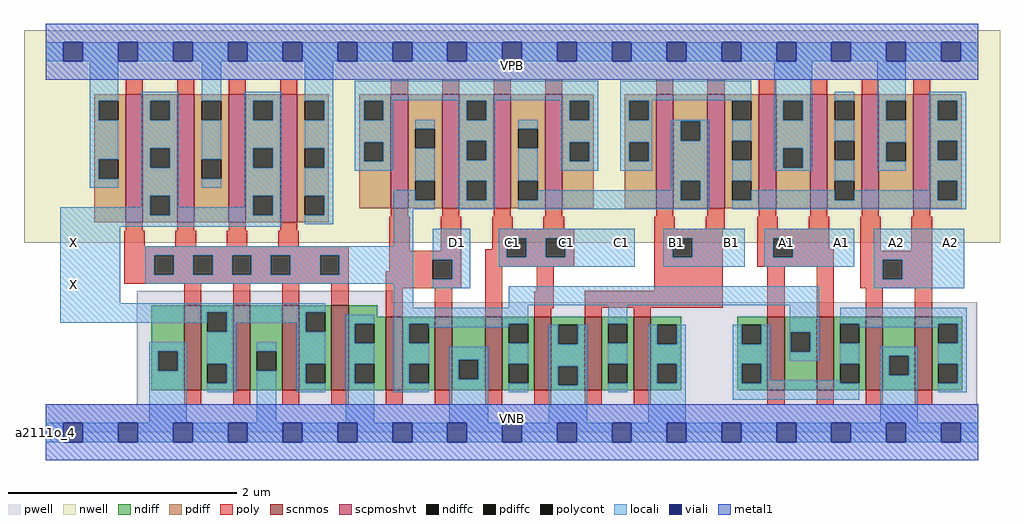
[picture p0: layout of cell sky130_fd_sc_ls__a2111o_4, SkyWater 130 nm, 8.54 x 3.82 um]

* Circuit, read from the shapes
.subckt sky130_fd_sc_ls__a2111o_4 A1 A2 B1 C1 D1 VGND VNB VPB VPWR X
XM1 X n1 VGND VNB sky130_fd_pr__nfet_01v8 w=0.74 l=0.15 m=4
XM2 n1 D1 VGND VNB sky130_fd_pr__nfet_01v8 w=0.64 l=0.15 m=2
XM3 n1 C1 VGND VNB sky130_fd_pr__nfet_01v8 w=0.64 l=0.15 m=2
XM4 n1 B1 VGND VNB sky130_fd_pr__nfet_01v8 w=0.64 l=0.15 m=2
XM5 n1 A1 n2 VNB sky130_fd_pr__nfet_01v8 w=0.64 l=0.15 m=2
XM6 VGND A2 n2 VNB sky130_fd_pr__nfet_01v8 w=0.64 l=0.15 m=2
XM7 X n1 VPWR VPB sky130_fd_pr__pfet_01v8_hvt w=1.12 l=0.15 m=4
XM8 n1 D1 n3 VPB sky130_fd_pr__pfet_01v8_hvt w=1 l=0.15 m=2
XM9 n4 C1 n3 VPB sky130_fd_pr__pfet_01v8_hvt w=1 l=0.15 m=2
XM10 n4 B1 n5 VPB sky130_fd_pr__pfet_01v8_hvt w=1 l=0.15 m=2
XM11 VPWR A1 n5 VPB sky130_fd_pr__pfet_01v8_hvt w=1 l=0.15 m=2
XM12 VPWR A2 n5 VPB sky130_fd_pr__pfet_01v8_hvt w=1 l=0.15 m=2
.ends

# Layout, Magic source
magic
tech sky130A
magscale 1 2
<< nwell >>
rect -38 332 1670 704
<< pwell >>
rect 159 228 606 248
rect 159 49 1630 228
rect 0 0 1632 49
<< scnmos >>
rect 242 74 272 222
rect 328 74 358 222
rect 414 74 444 222
rect 500 74 530 222
rect 595 74 625 202
rect 681 74 711 202
rect 769 74 799 202
rect 855 74 885 202
rect 943 74 973 202
rect 1029 74 1059 202
rect 1263 74 1293 202
rect 1349 74 1379 202
rect 1435 74 1465 202
rect 1521 74 1551 202
<< scpmoshvt >>
rect 140 368 170 592
rect 230 368 260 592
rect 320 368 350 592
rect 410 368 440 592
rect 604 392 634 592
rect 694 392 724 592
rect 784 392 814 592
rect 874 392 904 592
rect 1068 392 1098 592
rect 1158 392 1188 592
rect 1248 392 1278 592
rect 1338 392 1368 592
rect 1428 392 1458 592
rect 1518 392 1548 592
<< ndiff >>
rect 185 142 242 222
rect 185 108 197 142
rect 231 108 242 142
rect 185 74 242 108
rect 272 210 328 222
rect 272 176 283 210
rect 317 176 328 210
rect 272 120 328 176
rect 272 86 283 120
rect 317 86 328 120
rect 272 74 328 86
rect 358 142 414 222
rect 358 108 369 142
rect 403 108 414 142
rect 358 74 414 108
rect 444 210 500 222
rect 444 176 455 210
rect 489 176 500 210
rect 444 120 500 176
rect 444 86 455 120
rect 489 86 500 120
rect 444 74 500 86
rect 530 202 580 222
rect 530 190 595 202
rect 530 156 541 190
rect 575 156 595 190
rect 530 120 595 156
rect 530 86 541 120
rect 575 86 595 120
rect 530 74 595 86
rect 625 190 681 202
rect 625 156 636 190
rect 670 156 681 190
rect 625 120 681 156
rect 625 86 636 120
rect 670 86 681 120
rect 625 74 681 86
rect 711 127 769 202
rect 711 93 723 127
rect 757 93 769 127
rect 711 74 769 93
rect 799 190 855 202
rect 799 156 810 190
rect 844 156 855 190
rect 799 120 855 156
rect 799 86 810 120
rect 844 86 855 120
rect 799 74 855 86
rect 885 188 943 202
rect 885 154 897 188
rect 931 154 943 188
rect 885 116 943 154
rect 885 82 897 116
rect 931 82 943 116
rect 885 74 943 82
rect 973 190 1029 202
rect 973 156 984 190
rect 1018 156 1029 190
rect 973 120 1029 156
rect 973 86 984 120
rect 1018 86 1029 120
rect 973 74 1029 86
rect 1059 188 1112 202
rect 1059 154 1070 188
rect 1104 154 1112 188
rect 1059 120 1112 154
rect 1059 86 1070 120
rect 1104 86 1112 120
rect 1059 74 1112 86
rect 1210 188 1263 202
rect 1210 154 1218 188
rect 1252 154 1263 188
rect 1210 120 1263 154
rect 1210 86 1218 120
rect 1252 86 1263 120
rect 1210 74 1263 86
rect 1293 175 1349 202
rect 1293 141 1304 175
rect 1338 141 1349 175
rect 1293 74 1349 141
rect 1379 190 1435 202
rect 1379 156 1390 190
rect 1424 156 1435 190
rect 1379 120 1435 156
rect 1379 86 1390 120
rect 1424 86 1435 120
rect 1379 74 1435 86
rect 1465 134 1521 202
rect 1465 100 1476 134
rect 1510 100 1521 134
rect 1465 74 1521 100
rect 1551 190 1604 202
rect 1551 156 1562 190
rect 1596 156 1604 190
rect 1551 120 1604 156
rect 1551 86 1562 120
rect 1596 86 1604 120
rect 1551 74 1604 86
<< pdiff >>
rect 85 580 140 592
rect 85 546 93 580
rect 127 546 140 580
rect 85 478 140 546
rect 85 444 93 478
rect 127 444 140 478
rect 85 368 140 444
rect 170 580 230 592
rect 170 546 183 580
rect 217 546 230 580
rect 170 497 230 546
rect 170 463 183 497
rect 217 463 230 497
rect 170 414 230 463
rect 170 380 183 414
rect 217 380 230 414
rect 170 368 230 380
rect 260 580 320 592
rect 260 546 273 580
rect 307 546 320 580
rect 260 478 320 546
rect 260 444 273 478
rect 307 444 320 478
rect 260 368 320 444
rect 350 580 410 592
rect 350 546 363 580
rect 397 546 410 580
rect 350 497 410 546
rect 350 463 363 497
rect 397 463 410 497
rect 350 414 410 463
rect 350 380 363 414
rect 397 380 410 414
rect 350 368 410 380
rect 440 580 495 592
rect 440 546 453 580
rect 487 546 495 580
rect 440 497 495 546
rect 440 463 453 497
rect 487 463 495 497
rect 440 414 495 463
rect 440 380 453 414
rect 487 380 495 414
rect 549 580 604 592
rect 549 546 557 580
rect 591 546 604 580
rect 549 508 604 546
rect 549 474 557 508
rect 591 474 604 508
rect 549 392 604 474
rect 634 531 694 592
rect 634 497 647 531
rect 681 497 694 531
rect 634 440 694 497
rect 634 406 647 440
rect 681 406 694 440
rect 634 392 694 406
rect 724 580 784 592
rect 724 546 737 580
rect 771 546 784 580
rect 724 510 784 546
rect 724 476 737 510
rect 771 476 784 510
rect 724 440 784 476
rect 724 406 737 440
rect 771 406 784 440
rect 724 392 784 406
rect 814 531 874 592
rect 814 497 827 531
rect 861 497 874 531
rect 814 440 874 497
rect 814 406 827 440
rect 861 406 874 440
rect 814 392 874 406
rect 904 580 959 592
rect 904 546 917 580
rect 951 546 959 580
rect 904 508 959 546
rect 904 474 917 508
rect 951 474 959 508
rect 904 392 959 474
rect 1013 580 1068 592
rect 1013 546 1021 580
rect 1055 546 1068 580
rect 1013 508 1068 546
rect 1013 474 1021 508
rect 1055 474 1068 508
rect 1013 392 1068 474
rect 1098 544 1158 592
rect 1098 510 1111 544
rect 1145 510 1158 544
rect 1098 440 1158 510
rect 1098 406 1111 440
rect 1145 406 1158 440
rect 1098 392 1158 406
rect 1188 580 1248 592
rect 1188 546 1201 580
rect 1235 546 1248 580
rect 1188 510 1248 546
rect 1188 476 1201 510
rect 1235 476 1248 510
rect 1188 440 1248 476
rect 1188 406 1201 440
rect 1235 406 1248 440
rect 1188 392 1248 406
rect 1278 580 1338 592
rect 1278 546 1291 580
rect 1325 546 1338 580
rect 1278 497 1338 546
rect 1278 463 1291 497
rect 1325 463 1338 497
rect 1278 392 1338 463
rect 1368 580 1428 592
rect 1368 546 1381 580
rect 1415 546 1428 580
rect 1368 510 1428 546
rect 1368 476 1381 510
rect 1415 476 1428 510
rect 1368 440 1428 476
rect 1368 406 1381 440
rect 1415 406 1428 440
rect 1368 392 1428 406
rect 1458 580 1518 592
rect 1458 546 1471 580
rect 1505 546 1518 580
rect 1458 508 1518 546
rect 1458 474 1471 508
rect 1505 474 1518 508
rect 1458 392 1518 474
rect 1548 580 1603 592
rect 1548 546 1561 580
rect 1595 546 1603 580
rect 1548 510 1603 546
rect 1548 476 1561 510
rect 1595 476 1603 510
rect 1548 440 1603 476
rect 1548 406 1561 440
rect 1595 406 1603 440
rect 1548 392 1603 406
rect 440 368 495 380
<< ndiffc >>
rect 197 108 231 142
rect 283 176 317 210
rect 283 86 317 120
rect 369 108 403 142
rect 455 176 489 210
rect 455 86 489 120
rect 541 156 575 190
rect 541 86 575 120
rect 636 156 670 190
rect 636 86 670 120
rect 723 93 757 127
rect 810 156 844 190
rect 810 86 844 120
rect 897 154 931 188
rect 897 82 931 116
rect 984 156 1018 190
rect 984 86 1018 120
rect 1070 154 1104 188
rect 1070 86 1104 120
rect 1218 154 1252 188
rect 1218 86 1252 120
rect 1304 141 1338 175
rect 1390 156 1424 190
rect 1390 86 1424 120
rect 1476 100 1510 134
rect 1562 156 1596 190
rect 1562 86 1596 120
<< pdiffc >>
rect 93 546 127 580
rect 93 444 127 478
rect 183 546 217 580
rect 183 463 217 497
rect 183 380 217 414
rect 273 546 307 580
rect 273 444 307 478
rect 363 546 397 580
rect 363 463 397 497
rect 363 380 397 414
rect 453 546 487 580
rect 453 463 487 497
rect 453 380 487 414
rect 557 546 591 580
rect 557 474 591 508
rect 647 497 681 531
rect 647 406 681 440
rect 737 546 771 580
rect 737 476 771 510
rect 737 406 771 440
rect 827 497 861 531
rect 827 406 861 440
rect 917 546 951 580
rect 917 474 951 508
rect 1021 546 1055 580
rect 1021 474 1055 508
rect 1111 510 1145 544
rect 1111 406 1145 440
rect 1201 546 1235 580
rect 1201 476 1235 510
rect 1201 406 1235 440
rect 1291 546 1325 580
rect 1291 463 1325 497
rect 1381 546 1415 580
rect 1381 476 1415 510
rect 1381 406 1415 440
rect 1471 546 1505 580
rect 1471 474 1505 508
rect 1561 546 1595 580
rect 1561 476 1595 510
rect 1561 406 1595 440
<< poly >>
rect 140 592 170 618
rect 230 592 260 618
rect 320 592 350 618
rect 410 592 440 618
rect 604 592 634 618
rect 694 592 724 618
rect 784 592 814 618
rect 874 592 904 618
rect 1068 592 1098 618
rect 1158 592 1188 618
rect 1248 592 1278 618
rect 1338 592 1368 618
rect 1428 592 1458 618
rect 1518 592 1548 618
rect 604 377 634 392
rect 694 377 724 392
rect 784 377 814 392
rect 874 377 904 392
rect 1068 377 1098 392
rect 1158 377 1188 392
rect 1248 377 1278 392
rect 1338 377 1368 392
rect 1428 377 1458 392
rect 1518 377 1548 392
rect 140 353 170 368
rect 230 353 260 368
rect 320 353 350 368
rect 410 353 440 368
rect 137 326 173 353
rect 227 326 263 353
rect 317 326 353 353
rect 407 326 443 353
rect 137 310 530 326
rect 137 276 190 310
rect 224 276 258 310
rect 292 276 326 310
rect 360 276 394 310
rect 428 276 480 310
rect 514 276 530 310
rect 601 318 637 377
rect 691 318 727 377
rect 781 356 817 377
rect 871 356 907 377
rect 1065 356 1101 377
rect 1155 356 1188 377
rect 1245 356 1281 377
rect 1335 356 1371 377
rect 781 340 925 356
rect 781 320 807 340
rect 601 302 727 318
rect 601 282 677 302
rect 137 260 530 276
rect 242 222 272 260
rect 328 222 358 260
rect 414 222 444 260
rect 500 222 530 260
rect 595 268 677 282
rect 711 268 727 302
rect 595 252 727 268
rect 769 306 807 320
rect 841 306 875 340
rect 909 306 925 340
rect 769 290 925 306
rect 1065 340 1185 356
rect 1065 306 1097 340
rect 1131 306 1185 340
rect 595 202 625 252
rect 681 202 711 252
rect 769 202 799 290
rect 859 247 889 290
rect 1065 248 1185 306
rect 1245 340 1371 356
rect 1245 306 1273 340
rect 1307 320 1371 340
rect 1307 306 1379 320
rect 1245 290 1379 306
rect 855 217 889 247
rect 943 218 1185 248
rect 855 202 885 217
rect 943 202 973 218
rect 1029 202 1059 218
rect 1263 202 1293 290
rect 1349 202 1379 290
rect 1425 318 1461 377
rect 1515 318 1551 377
rect 1425 302 1551 318
rect 1425 268 1465 302
rect 1499 268 1551 302
rect 1425 252 1551 268
rect 1435 202 1465 252
rect 1521 202 1551 252
rect 242 48 272 74
rect 328 48 358 74
rect 414 48 444 74
rect 500 48 530 74
rect 595 48 625 74
rect 681 48 711 74
rect 769 48 799 74
rect 855 48 885 74
rect 943 48 973 74
rect 1029 48 1059 74
rect 1263 48 1293 74
rect 1349 48 1379 74
rect 1435 48 1465 74
rect 1521 48 1551 74
<< polycont >>
rect 190 276 224 310
rect 258 276 292 310
rect 326 276 360 310
rect 394 276 428 310
rect 480 276 514 310
rect 677 268 711 302
rect 807 306 841 340
rect 875 306 909 340
rect 1097 306 1131 340
rect 1273 306 1307 340
rect 1465 268 1499 302
<< locali >>
rect 0 649 31 683
rect 65 649 127 683
rect 161 649 223 683
rect 257 649 319 683
rect 353 649 415 683
rect 449 649 511 683
rect 545 649 607 683
rect 641 649 703 683
rect 737 649 799 683
rect 833 649 895 683
rect 929 649 991 683
rect 1025 649 1087 683
rect 1121 649 1183 683
rect 1217 649 1279 683
rect 1313 649 1375 683
rect 1409 649 1471 683
rect 1505 649 1567 683
rect 1601 649 1632 683
rect 77 580 127 649
rect 77 546 93 580
rect 77 478 127 546
rect 77 444 93 478
rect 77 428 127 444
rect 167 580 233 596
rect 167 546 183 580
rect 217 546 233 580
rect 167 497 233 546
rect 167 463 183 497
rect 217 463 233 497
rect 167 414 233 463
rect 273 580 307 649
rect 273 478 307 546
rect 273 428 307 444
rect 347 580 413 596
rect 347 546 363 580
rect 397 546 413 580
rect 347 497 413 546
rect 347 463 363 497
rect 397 463 413 497
rect 167 394 183 414
rect 25 380 183 394
rect 217 394 233 414
rect 347 414 413 463
rect 347 394 363 414
rect 217 380 363 394
rect 397 380 413 414
rect 25 360 413 380
rect 453 580 503 649
rect 487 546 503 580
rect 453 497 503 546
rect 487 463 503 497
rect 453 414 503 463
rect 541 581 967 615
rect 541 580 607 581
rect 541 546 557 580
rect 591 546 607 580
rect 721 580 787 581
rect 541 508 607 546
rect 541 474 557 508
rect 591 474 607 508
rect 541 458 607 474
rect 647 531 681 547
rect 647 440 681 497
rect 487 380 503 414
rect 453 364 503 380
rect 609 406 647 424
rect 609 390 681 406
rect 721 546 737 580
rect 771 546 787 580
rect 901 580 967 581
rect 721 510 787 546
rect 721 476 737 510
rect 771 476 787 510
rect 721 440 787 476
rect 721 406 737 440
rect 771 406 787 440
rect 721 390 787 406
rect 827 531 861 547
rect 827 440 861 497
rect 901 546 917 580
rect 951 546 967 580
rect 901 508 967 546
rect 901 474 917 508
rect 951 474 967 508
rect 901 458 967 474
rect 1005 581 1235 615
rect 1005 580 1061 581
rect 1005 546 1021 580
rect 1055 546 1061 580
rect 1201 580 1235 581
rect 1005 508 1061 546
rect 1005 474 1021 508
rect 1055 474 1061 508
rect 1005 458 1061 474
rect 1095 544 1161 547
rect 1095 510 1111 544
rect 1145 510 1161 544
rect 1095 440 1161 510
rect 1095 424 1111 440
rect 861 406 1111 424
rect 1145 406 1161 440
rect 827 390 1161 406
rect 1201 510 1235 546
rect 1201 440 1235 476
rect 1275 580 1341 649
rect 1275 546 1291 580
rect 1325 546 1341 580
rect 1275 497 1341 546
rect 1275 463 1291 497
rect 1325 463 1341 497
rect 1275 458 1341 463
rect 1381 580 1415 596
rect 1381 510 1415 546
rect 1381 440 1415 476
rect 1455 580 1505 649
rect 1455 546 1471 580
rect 1455 508 1505 546
rect 1455 474 1471 508
rect 1455 458 1505 474
rect 1545 580 1611 596
rect 1545 546 1561 580
rect 1595 546 1611 580
rect 1545 510 1611 546
rect 1545 476 1561 510
rect 1595 476 1611 510
rect 1235 406 1381 424
rect 1545 440 1611 476
rect 1545 424 1561 440
rect 1415 406 1561 424
rect 1595 406 1611 440
rect 1201 390 1611 406
rect 25 226 130 360
rect 609 326 643 390
rect 174 310 643 326
rect 174 276 190 310
rect 224 276 258 310
rect 292 276 326 310
rect 360 276 394 310
rect 428 276 480 310
rect 514 276 643 310
rect 174 260 643 276
rect 25 210 489 226
rect 25 192 283 210
rect 317 192 455 210
rect 317 176 333 192
rect 181 142 247 158
rect 181 108 197 142
rect 231 108 247 142
rect 181 17 247 108
rect 283 120 333 176
rect 439 176 455 192
rect 609 218 643 260
rect 677 302 743 356
rect 711 268 743 302
rect 793 340 1031 356
rect 793 306 807 340
rect 841 306 875 340
rect 909 306 1031 340
rect 793 290 1031 306
rect 1081 340 1223 356
rect 1081 306 1097 340
rect 1131 306 1223 340
rect 1081 290 1223 306
rect 1257 340 1415 356
rect 1257 306 1273 340
rect 1307 306 1415 340
rect 1257 290 1415 306
rect 1449 302 1607 356
rect 677 252 743 268
rect 1449 268 1465 302
rect 1499 268 1607 302
rect 810 222 1354 256
rect 1449 252 1607 268
rect 810 218 844 222
rect 317 86 333 120
rect 283 70 333 86
rect 369 142 403 158
rect 369 17 403 108
rect 439 120 489 176
rect 439 86 455 120
rect 439 70 489 86
rect 525 190 575 206
rect 525 156 541 190
rect 525 120 575 156
rect 525 86 541 120
rect 525 17 575 86
rect 609 190 844 218
rect 609 156 636 190
rect 670 184 810 190
rect 609 120 670 156
rect 984 190 1018 222
rect 609 86 636 120
rect 609 70 670 86
rect 706 127 774 150
rect 706 93 723 127
rect 757 93 774 127
rect 706 17 774 93
rect 810 120 844 156
rect 810 70 844 86
rect 880 154 897 188
rect 931 154 948 188
rect 880 116 948 154
rect 880 82 897 116
rect 931 82 948 116
rect 880 17 948 82
rect 984 120 1018 156
rect 984 70 1018 86
rect 1054 154 1070 188
rect 1104 154 1120 188
rect 1054 120 1120 154
rect 1054 86 1070 120
rect 1104 86 1120 120
rect 1054 17 1120 86
rect 1202 154 1218 188
rect 1252 154 1268 188
rect 1202 120 1268 154
rect 1302 175 1354 222
rect 1302 141 1304 175
rect 1338 141 1354 175
rect 1302 125 1354 141
rect 1390 190 1612 218
rect 1424 184 1562 190
rect 1202 86 1218 120
rect 1252 91 1268 120
rect 1390 120 1424 156
rect 1596 156 1612 190
rect 1252 86 1390 91
rect 1202 57 1424 86
rect 1460 134 1526 150
rect 1460 100 1476 134
rect 1510 100 1526 134
rect 1460 17 1526 100
rect 1562 120 1612 156
rect 1596 86 1612 120
rect 1562 70 1612 86
rect 0 -17 31 17
rect 65 -17 127 17
rect 161 -17 223 17
rect 257 -17 319 17
rect 353 -17 415 17
rect 449 -17 511 17
rect 545 -17 607 17
rect 641 -17 703 17
rect 737 -17 799 17
rect 833 -17 895 17
rect 929 -17 991 17
rect 1025 -17 1087 17
rect 1121 -17 1183 17
rect 1217 -17 1279 17
rect 1313 -17 1375 17
rect 1409 -17 1471 17
rect 1505 -17 1567 17
rect 1601 -17 1632 17
<< viali >>
rect 31 649 65 683
rect 127 649 161 683
rect 223 649 257 683
rect 319 649 353 683
rect 415 649 449 683
rect 511 649 545 683
rect 607 649 641 683
rect 703 649 737 683
rect 799 649 833 683
rect 895 649 929 683
rect 991 649 1025 683
rect 1087 649 1121 683
rect 1183 649 1217 683
rect 1279 649 1313 683
rect 1375 649 1409 683
rect 1471 649 1505 683
rect 1567 649 1601 683
rect 31 -17 65 17
rect 127 -17 161 17
rect 223 -17 257 17
rect 319 -17 353 17
rect 415 -17 449 17
rect 511 -17 545 17
rect 607 -17 641 17
rect 703 -17 737 17
rect 799 -17 833 17
rect 895 -17 929 17
rect 991 -17 1025 17
rect 1087 -17 1121 17
rect 1183 -17 1217 17
rect 1279 -17 1313 17
rect 1375 -17 1409 17
rect 1471 -17 1505 17
rect 1567 -17 1601 17
<< metal1 >>
rect 0 683 1632 715
rect 0 649 31 683
rect 65 649 127 683
rect 161 649 223 683
rect 257 649 319 683
rect 353 649 415 683
rect 449 649 511 683
rect 545 649 607 683
rect 641 649 703 683
rect 737 649 799 683
rect 833 649 895 683
rect 929 649 991 683
rect 1025 649 1087 683
rect 1121 649 1183 683
rect 1217 649 1279 683
rect 1313 649 1375 683
rect 1409 649 1471 683
rect 1505 649 1567 683
rect 1601 649 1632 683
rect 0 617 1632 649
rect 0 17 1632 49
rect 0 -17 31 17
rect 65 -17 127 17
rect 161 -17 223 17
rect 257 -17 319 17
rect 353 -17 415 17
rect 449 -17 511 17
rect 545 -17 607 17
rect 641 -17 703 17
rect 737 -17 799 17
rect 833 -17 895 17
rect 929 -17 991 17
rect 1025 -17 1087 17
rect 1121 -17 1183 17
rect 1217 -17 1279 17
rect 1313 -17 1375 17
rect 1409 -17 1471 17
rect 1505 -17 1567 17
rect 1601 -17 1632 17
rect 0 -49 1632 -17
<< labels >>
rlabel comment s 0 0 0 0 4 a2111o_4
flabel pwell s 0 0 1632 49 0 FreeSans 200 0 0 0 VNB
port 7 nsew ground bidirectional
flabel nwell s 0 617 1632 666 0 FreeSans 200 0 0 0 VPB
port 8 nsew power bidirectional
flabel metal1 s 0 617 1632 666 0 FreeSans 340 0 0 0 VPWR
port 9 nsew power bidirectional abutment
flabel metal1 s 0 0 1632 49 0 FreeSans 340 0 0 0 VGND
port 6 nsew ground bidirectional abutment
flabel locali s 31 242 65 276 0 FreeSans 340 0 0 0 X
port 10 nsew signal output
flabel locali s 31 316 65 350 0 FreeSans 340 0 0 0 X
port 10 nsew signal output
flabel locali s 703 316 737 350 0 FreeSans 340 0 0 0 D1
port 5 nsew signal input
flabel locali s 799 316 833 350 0 FreeSans 340 0 0 0 C1
port 4 nsew signal input
flabel locali s 895 316 929 350 0 FreeSans 340 0 0 0 C1
port 4 nsew signal input
flabel locali s 991 316 1025 350 0 FreeSans 340 0 0 0 C1
port 4 nsew signal input
flabel locali s 1087 316 1121 350 0 FreeSans 340 0 0 0 B1
port 3 nsew signal input
flabel locali s 1183 316 1217 350 0 FreeSans 340 0 0 0 B1
port 3 nsew signal input
flabel locali s 1471 316 1505 350 0 FreeSans 340 0 0 0 A2
port 2 nsew signal input
flabel locali s 1567 316 1601 350 0 FreeSans 340 0 0 0 A2
port 2 nsew signal input
flabel locali s 1279 316 1313 350 0 FreeSans 340 0 0 0 A1
port 1 nsew signal input
flabel locali s 1375 316 1409 350 0 FreeSans 340 0 0 0 A1
port 1 nsew signal input
<< properties >>
string LEFsite unit
string LEFclass CORE
string FIXED_BBOX 0 0 1632 666
string GDS_FILE $PDKPATH/libs.ref/sky130_fd_sc_ls/gds/sky130_fd_sc_ls.gds
string LEFsymmetry X Y
string GDS_END 162038
string GDS_START 148208
<< end >>
